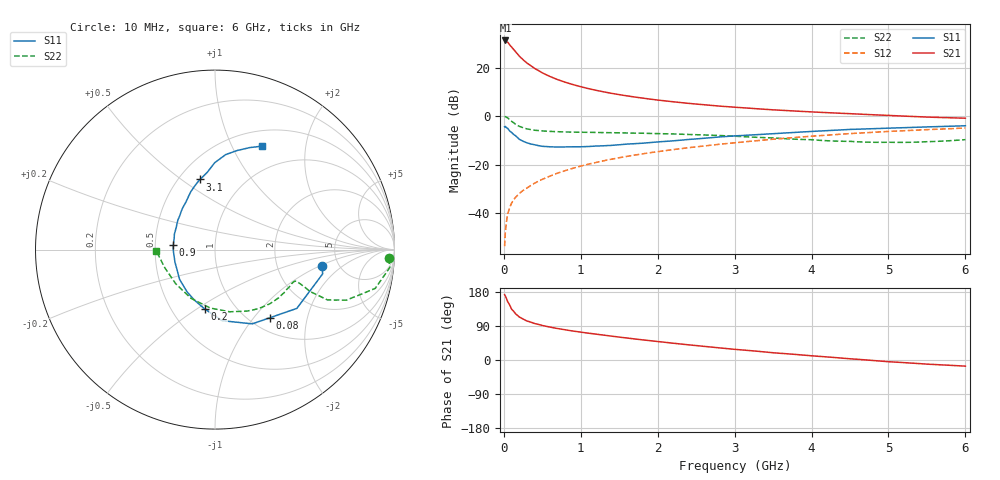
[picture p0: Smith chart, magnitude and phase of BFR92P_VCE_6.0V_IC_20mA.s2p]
! Infineon Technologies  Discrete & RF Semiconductors
! BFR92P
! VCE =  6.0 V,  IC =  20 mA
! Common Emitter S-Parameters:  Apr 2014
# GHz  S  MA  R  50
!  f  S11  S21  S12  S22
! GHz  MAG  ANG  MAG  ANG  MAG  ANG  MAG  ANG
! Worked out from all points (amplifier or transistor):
!   77 points, 10 MHz to 6 GHz, reference 50 ohm
!   highest |S21| = 31.2 dB at 20 MHz (marker M1)
!   |S21| within 3 dB of that: start of sweep to 108.8 MHz
!   unconditionally stable (mu >= 1): 503.2 MHz to 2.191 GHz
!   at 130 MHz: K = 0.54, MSG = 30.9 dB, |S12| = -34.4 dB
!   at 2.2 GHz: K = 1.00, MSG = 9.9 dB, |S12| = -13.8 dB
!   at 6 GHz: K = 0.86, MSG = 2.0 dB, |S12| = -4.9 dB
!   S11 on the Smith chart (normalised r, x): 10 MHz: 3.73, -1.06; 80 MHz: 1.22, -1.22; 200 MHz: 0.72, -0.54; 900 MHz: 0.62, +0.03; 3.1 GHz: 0.63, +0.59; 6 GHz: 0.68, +1.32
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0.01  0.6043 -8.6  36.09 172.6  0.0021 83.5  0.9691 -2.9
0.02  0.6148 -12.7  36.2 168.8  0.0041 83.1  0.9795 -5.8
0.05  0.5614 -35.7  33.4 153.9  0.0096 77.3  0.9187 -13.6
0.08  0.488 -51.0  28.9 143.3  0.0135 70.5  0.8369 -17.8
0.1  0.4629 -63.3  26.6 134.4  0.0161 67.8  0.7852 -21.0
0.15  0.3982 -84.2  21.44 122.5  0.0211 66.3  0.6871 -24.1
0.2  0.3351 -100.0  17.33 113.6  0.0254 66.5  0.617 -23.9
0.25  0.3041 -112.1  14.51 108.1  0.0295 67.4  0.5777 -23.8
0.3  0.282 -123.6  12.4 102.9  0.033 68.1  0.5457 -22.8
0.4  0.2576 -140.1  9.606 96.2  0.0416 69.6  0.5131 -21.9
0.5  0.2394 -152.1  7.789 91.1  0.05 70.8  0.4962 -21.4
0.6  0.2338 -162.6  6.551 86.8  0.0582 71.7  0.4853 -21.3
0.7  0.2308 -171.0  5.657 83.0  0.0672 72.1  0.4783 -21.6
0.8  0.2324 -178.8  4.977 79.6  0.0756 72.8  0.4728 -22.5
0.9  0.2339 174.0  4.461 76.4  0.0846 72.3  0.4685 -23.6
1.1  0.2369 163.6  3.688 70.7  0.1027 71.9  0.4645 -25.9
1.5  0.2573 145.3  2.77 60.4  0.1391 69.4  0.4536 -32.0
2.1  0.3019 124.5  2.059 46.6  0.195 64.7  0.4332 -42.5
3.1  0.3996 101.9  1.49 26.5  0.2928 54.6  0.3789 -64.9
4.1  0.4932 88.8  1.201 9.6  0.3959 43.0  0.3184 -98.5
5.1  0.5721 76.1  1.018 -5.7  0.4923 29.4  0.2882 -143.3
6  0.6337 65.5  0.907 -16.2  0.57 16.8  0.3283 -179.1
